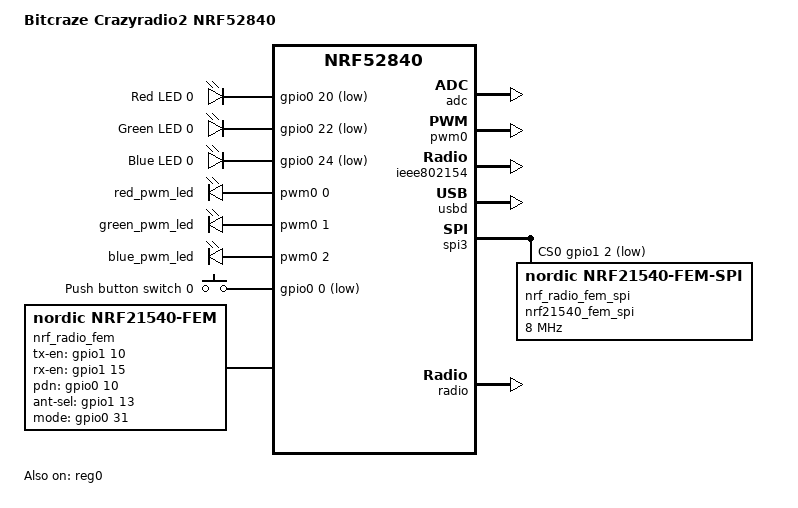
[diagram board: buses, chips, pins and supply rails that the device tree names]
/*
 * Copyright (c) 2025 Bitcraze AB
 * Copyright (c) 2018-2023 Nordic Semiconductor ASA
 * Copyright (c) 2017 Linaro Limited
 *
 * SPDX-License-Identifier: Apache-2.0
 */

/dts-v1/;
#include <nordic/nrf52840_qiaa.dtsi>
#include "crazyradio2_nrf52840-pinctrl.dtsi"
#include <zephyr/dt-bindings/input/input-event-codes.h>

/ {
	model = "Bitcraze Crazyradio2 NRF52840";
	compatible = "bitcraze,crazyradio2-nrf52840";

	chosen {
		zephyr,sram = &sram0;
		zephyr,flash = &flash0;
		zephyr,code-partition = &firmware_partition;
		zephyr,ieee802154 = &ieee802154;
	};

	leds {
		compatible = "gpio-leds";

		led0_red: led_0 {
			gpios = <&gpio0 20 GPIO_ACTIVE_LOW>;
			label = "Red LED 0";
		};

		led0_green: led_1 {
			gpios = <&gpio0 22 GPIO_ACTIVE_LOW>;
			label = "Green LED 0";
		};

		led0_blue: led_2 {
			gpios = <&gpio0 24 GPIO_ACTIVE_LOW>;
			label = "Blue LED 0";
		};
	};

	pwmleds {
		compatible = "pwm-leds";

		red_pwm_led: pwm_led_0 {
			pwms = <&pwm0 0 PWM_MSEC(20) PWM_POLARITY_INVERTED>;
		};

		green_pwm_led: pwm_led_1 {
			pwms = <&pwm0 1 PWM_MSEC(20) PWM_POLARITY_INVERTED>;
		};

		blue_pwm_led: pwm_led_2 {
			pwms = <&pwm0 2 PWM_MSEC(20) PWM_POLARITY_INVERTED>;
		};
	};

	buttons {
		compatible = "gpio-keys";

		button0: button_0 {
			gpios = <&gpio0 0 (GPIO_PULL_UP | GPIO_ACTIVE_LOW)>;
			label = "Push button switch 0";
			zephyr,code = <INPUT_KEY_0>;
		};
	};

	nrf_radio_fem: nrf21540_fem {
		compatible = "nordic,nrf21540-fem";
		tx-en-gpios = <&gpio1 10 GPIO_ACTIVE_HIGH>;
		rx-en-gpios = <&gpio1 15 GPIO_ACTIVE_HIGH>;
		pdn-gpios = <&gpio0 10 GPIO_ACTIVE_HIGH>;
		ant-sel-gpios = <&gpio1 13 GPIO_ACTIVE_HIGH>;
		mode-gpios = <&gpio0 31 GPIO_ACTIVE_HIGH>;
		spi-if = <&nrf_radio_fem_spi>;
		supply-voltage-mv = <3150>;
	};

	/* These aliases are provided for compatibility with samples */
	aliases {
		sw0 = &button0;
		led0 = &led0_red;
		led1 = &led0_green;
		led2 = &led0_blue;
		pwm-led0 = &red_pwm_led;
		pwm-led1 = &green_pwm_led;
		pwm-led2 = &blue_pwm_led;
		red-pwm-led = &red_pwm_led;
		green-pwm-led = &green_pwm_led;
		blue-pwm-led = &blue_pwm_led;
		watchdog0 = &wdt0;
	};
};

&reg0 {
	status = "okay";
};

&reg1 {
	regulator-initial-mode = <NRF5X_REG_MODE_DCDC>;
};

&adc {
	status = "okay";
};

&gpiote {
	status = "okay";
};

&uicr {
	nfct-pins-as-gpios;
	gpio-as-nreset;
};

&gpio0 {
	status = "okay";
};

&gpio1 {
	status = "okay";
};

&pwm0 {
	status = "okay";
	pinctrl-0 = <&pwm0_default>;
	pinctrl-1 = <&pwm0_sleep>;
	pinctrl-names = "default", "sleep";
};

&ieee802154 {
	status = "okay";
};

/* Flash memory partitions
 * Crazyradio only uses 1 UF2 bootloader and one Application partition
 */
&flash0 {
	partitions {
		compatible = "fixed-partitions";
		#address-cells = <1>;
		#size-cells = <1>;

		/* Crazyradio UF2 Partition */
		boot_partition: partition@0 {
			label = "bootloader";
			reg = <0x00000000 0x00026000>;
		};

		firmware_partition: partition@26000 {
			label = "firmware";
			reg = <0x00026000 0x00d6000>;
		};

		storage_partition: partition@fc000 {
			label = "storage";
			reg = <0x000fc000 0x00004000>;
		};
	};
};

&clock {
    status = "okay";
};

zephyr_udc0: &usbd {
	compatible = "nordic,nrf-usbd";
	status = "okay";
};

fem_spi: &spi3 {
	status = "okay";
	cs-gpios = <&gpio1 2 GPIO_ACTIVE_LOW>;
	pinctrl-0 = <&spi3_default>;
	pinctrl-1 = <&spi3_sleep>;
	pinctrl-names = "default", "sleep";

	nrf_radio_fem_spi: nrf21540_fem_spi@0 {
		compatible = "nordic,nrf21540-fem-spi";
		status = "okay";
		reg = <0>;
		spi-max-frequency = <8000000>;
	};
};

&radio {
	fem = <&nrf_radio_fem>;
};


/* RTT console as default console */
/ {
	chosen {
		zephyr,console = &rtt0;
	};

	rtt0: rtt_chan0 {
		compatible = "segger,rtt-uart";
		status = "okay";
	};
};


